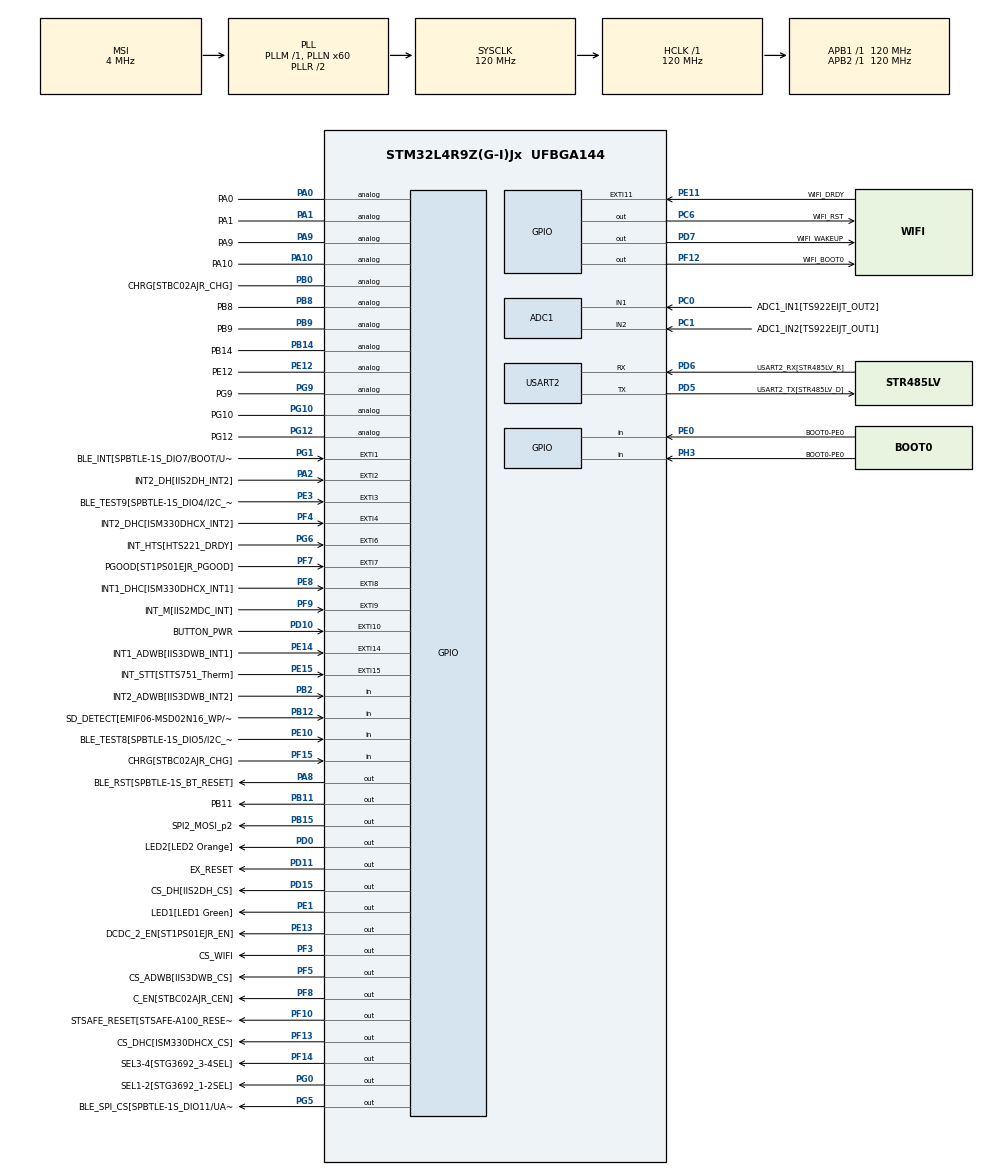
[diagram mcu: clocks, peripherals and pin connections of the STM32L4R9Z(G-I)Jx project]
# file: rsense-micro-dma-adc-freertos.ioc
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ADC1.Channel-0\#ChannelRegularConversion=ADC_CHANNEL_1
ADC1.ContinuousConvMode=ENABLE
ADC1.DMAContinuousRequests=ENABLE
ADC1.NbrOfConversionFlag=1
ADC1.OffsetNumber-0\#ChannelRegularConversion=ADC_OFFSET_NONE
ADC1.Rank-0\#ChannelRegularConversion=1
ADC1.SamplingTime-0\#ChannelRegularConversion=ADC_SAMPLETIME_2CYCLES_5
ADC1.SingleDiff-0\#ChannelRegularConversion=ADC_DIFFERENTIAL_ENDED
ADC1.master=1
Dma.ADC1.0.Direction=DMA_PERIPH_TO_MEMORY
Dma.ADC1.0.EventEnable=DISABLE
Dma.ADC1.0.Instance=DMA1_Channel1
Dma.ADC1.0.MemDataAlignment=DMA_MDATAALIGN_HALFWORD
Dma.ADC1.0.MemInc=DMA_MINC_ENABLE
Dma.ADC1.0.Mode=DMA_CIRCULAR
Dma.ADC1.0.PeriphDataAlignment=DMA_PDATAALIGN_HALFWORD
Dma.ADC1.0.PeriphInc=DMA_PINC_DISABLE
Dma.ADC1.0.Polarity=HAL_DMAMUX_REQUEST_GEN_RISING
Dma.ADC1.0.Priority=DMA_PRIORITY_LOW
Dma.ADC1.0.RequestNumber=1
Dma.ADC1.0.SignalID=NONE
Dma.ADC1.0.SyncEnable=DISABLE
Dma.ADC1.0.SyncPolarity=HAL_DMAMUX_SYNC_NO_EVENT
Dma.ADC1.0.SyncRequestNumber=1
Dma.ADC1.0.SyncSignalID=NONE
Dma.Request0=ADC1
FREERTOS.Tasks01=defaultTask,0,128,StartDefaultTask,Default,NULL,Dynamic,NULL,NULL
Mcu.Family=STM32L4
Mcu.Name=STM32L4R9Z(G-I)Jx
Mcu.Package=UFBGA144
NVIC.DMA1_Channel1_IRQn=true\:5\:0\:false\:false\:true\:true\:false\:true
NVIC.PriorityGroup=NVIC_PRIORITYGROUP_4
NVIC.TIM6_DAC_IRQn=true\:0\:0\:false\:false\:true\:false\:false\:true
NVIC.TimeBase=TIM6_DAC_IRQn
NVIC.TimeBaseIP=TIM6
NVIC.USART2_IRQn=true\:5\:0\:false\:false\:true\:true\:true\:true
PA0.GPIO_Label=PA0
PA0.Signal=GPIO_Analog
PA1.GPIO_Label=PA1
PA1.Signal=GPIO_Analog
PA10.GPIO_Label=PA10
PA10.Signal=GPIO_Analog
PA11.GPIO_Label=OTG_FS_DM[USBLC6-2P6_D2]
PA11.Signal=USB_OTG_FS_DM
PA12.GPIO_Label=OTG_FS_DP[USBLC6-2P6_D1]
PA12.Signal=USB_OTG_FS_DP
PA13\ (JTMS/SWDIO).GPIO_Label=SWDIO
PA13\ (JTMS/SWDIO).Signal=SYS_JTMS-SWDIO
PA14\ (JTCK/SWCLK).GPIO_Label=SWDCLK
PA14\ (JTCK/SWCLK).Signal=SYS_JTCK-SWCLK
PA15\ (JTDI).GPIO_Label=EX_PWM
PA15\ (JTDI).Signal=S_TIM2_CH1
PA2.GPIO_Label=INT2_DH[IIS2DH_INT2]
PA2.Signal=GPXTI2
PA4.GPIO_Label=DAC1_OUT1
PA4.Signal=COMP_DAC11_group
PA5.GPIO_Label=EX_ADC
PA5.Signal=ADCx_IN10
PA8.GPIO_Label=BLE_RST[SPBTLE-1S_BT_RESET]
PA8.Signal=GPIO_Output
PA9.GPIO_Label=PA9
PA9.Signal=GPIO_Analog
PB0.GPIO_Label=CHRG[STBC02AJR_CHG]
PB0.Signal=GPIO_Analog
PB1.GPIO_Label=USART3_RTS[STG3692_3S2]
PB1.Signal=USART3_RTS
PB10.GPIO_Label=DFSDM1_D7
PB10.GPIO_PuPd=GPIO_PULLDOWN
PB10.GPIO_Speed=GPIO_SPEED_FREQ_VERY_HIGH
PB10.Signal=S_DATAIN7DFSDM1
PB11.GPIO_Label=PB11
PB11.Signal=GPIO_Output
PB12.GPIO_Label=SD_DETECT[EMIF06-MSD02N16_WP/CD]
PB12.Signal=GPIO_Input
PB13.GPIO_Label=USART3_CTS
PB13.Signal=USART3_CTS
PB14.GPIO_Label=PB14
PB14.Signal=GPIO_Analog
PB15.GPIO_Label=SPI2_MOSI_p2
PB15.Signal=GPIO_Output
PB2.GPIO_Label=INT2_ADWB[IIS3DWB_INT2]
PB2.Signal=GPIO_Input
PB3\ (JTDO/TRACESWO).GPIO_Label=SPI3_CLK[SENSORS_SCL]
PB3\ (JTDO/TRACESWO).Signal=SPI3_SCK
PB4\ (NJTRST).GPIO_Label=SPI3_MISO[SENSORS_SDO]
PB4\ (NJTRST).Signal=SPI3_MISO
PB5.GPIO_Label=SPI3_MOSI[SENSORS_SDA]
PB5.Signal=SPI3_MOSI
PB6.GPIO_Label=DFSDM1_DATIN5[IMP34DT05_DOUT]
PB6.GPIO_PuPd=GPIO_PULLDOWN
PB6.GPIO_Speed=GPIO_SPEED_FREQ_VERY_HIGH
PB6.Signal=S_DATAIN5DFSDM1
PB8.GPIO_Label=PB8
PB8.Signal=GPIO_Analog
PB9.GPIO_Label=PB9
PB9.Signal=GPIO_Analog
PC0.GPIO_Label=ADC1_IN1[TS922EIJT_OUT2]
PC0.Signal=ADCx_IN1
PC1.GPIO_Label=ADC1_IN2[TS922EIJT_OUT1]
PC1.Signal=ADCx_IN2
PC10.GPIO_Label=SDMMC_D2[EMIF06-MSD02N16_DAT2_In]
PC10.Signal=SDMMC1_D2
PC11.GPIO_Label=SDMMC_D3[EMIF06-MSD02N16_DAT3_In]
PC11.Signal=SDMMC1_D3
PC12.GPIO_Label=SDMMC_CK[EMIF06-MSD02N16_CLK_In]
PC12.Signal=SDMMC1_CK
PC13.GPIO_Label=RTC_TAMP1
PC13.Signal=RTC_TAMP1
PC14-OSC32_IN\ (PC14).GPIO_Label=OSC32_IN
PC14-OSC32_IN\ (PC14).Signal=RCC_OSC32_IN
PC15-OSC32_OUT\ (PC15).GPIO_Label=OSC32_OUT
PC15-OSC32_OUT\ (PC15).Signal=RCC_OSC32_OUT
PC2.GPIO_Label=SPI2_MISO[SPBTLE-1S_DIO2/SPI_MISO]
PC2.Signal=SPI2_MISO
PC3.GPIO_Label=SPI2_MOSI[SPBTLE-1S_DIO3/SPI_MOSI]
PC3.Signal=SPI2_MOSI
PC4.GPIO_Label=uC_ADC_BATT[STBC02AJR_BATMS]
PC4.Signal=ADCx_IN13
PC5.GPIO_Label=PC5/WKUP5
PC5.Signal=SYS_WKUP5
PC6.GPIO_Label=WIFI_RST
PC6.Signal=GPIO_Output
PC8.GPIO_Label=SDMMC_D0[EMIF06-MSD02N16_DAT0_In]
PC8.Signal=SDMMC1_D0
PC9.GPIO_Label=SDMMC_D1[EMIF06-MSD02N16_DAT1_In]
PC9.Signal=SDMMC1_D1
PD0.GPIO_Label=LED2[LED2 Orange]
PD0.Signal=GPIO_Output
PD1.GPIO_Label=SPI2_CLK[SPBTLE-1S_DIO0/SPI_CLK]
PD1.Signal=SPI2_SCK
PD10.GPIO_Label=BUTTON_PWR
PD10.Signal=GPXTI10
PD11.GPIO_Label=EX_RESET 
PD11.Signal=GPIO_Output
PD12.GPIO_Label=I2C4_SCL
PD12.Signal=I2C4_SCL
PD13.GPIO_Label=I2C4_SDA
PD13.Signal=I2C4_SDA
PD15.GPIO_Label=CS_DH[IIS2DH_CS]
PD15.Signal=GPIO_Output
PD2.GPIO_Label=SDMMC_CMD[EMIF06-MSD02N16_CMD_In]
PD2.Signal=SDMMC1_CMD
PD4.GPIO_Label=USART2_RTS[STR485LV_DE]
PD4.Signal=USART2_RTS
PD5.GPIO_Label=USART2_TX[STR485LV_D]
PD5.Mode=Asynchronous
PD5.Signal=USART2_TX
PD6.GPIO_Label=USART2_RX[STR485LV_R]
PD6.Mode=Asynchronous
PD6.Signal=USART2_RX
PD7.GPIO_Label=WIFI_WAKEUP
PD7.Signal=GPIO_Output
PD8.GPIO_Label=USART3_TX[STG3692_1S1]
PD8.Signal=USART3_TX
PD9.GPIO_Label=USART3_RX[STG3692_2S1]
PD9.Signal=USART3_RX
PE0.GPIO_Label=BOOT0-PE0
PE0.Signal=GPIO_Input
PE1.GPIO_Label=LED1[LED1 Green]
PE1.Signal=GPIO_Output
PE10.GPIO_Label=BLE_TEST8[SPBTLE-1S_DIO5/I2C_SDA]
PE10.Signal=GPIO_Input
PE11.GPIO_Label=WIFI_DRDY
PE11.Signal=GPXTI11
PE12.GPIO_Label=PE12
PE12.Signal=GPIO_Analog
PE13.GPIO_Label=DCDC_2_EN[ST1PS01EJR_EN]
PE13.Signal=GPIO_Output
PE14.GPIO_Label=INT1_ADWB[IIS3DWB_INT1]
PE14.Signal=GPXTI14
PE15.GPIO_Label=INT_STT[STTS751_Therm]
PE15.Signal=GPXTI15
PE2.GPIO_Label=SAI1_MCLK_A
PE2.Signal=SAI1_MCLK_A
PE3.GPIO_Label=BLE_TEST9[SPBTLE-1S_DIO4/I2C_CLK]
PE3.Signal=GPXTI3
PE4.GPIO_Label=SAI1_FS_A/DFSDM_D3
PE4.Signal=SAI1_FS_A
PE5.GPIO_Label=SAI1_SCK_A
PE5.Signal=SAI1_SCK_A
PE6.GPIO_Label=SAI1_SD_A
PE6.Signal=SAI1_SD_A
PE7.GPIO_Label=SAI1_SD_B
PE7.Signal=SAI1_SD_B
PE8.GPIO_Label=INT1_DHC[ISM330DHCX_INT1]
PE8.Signal=GPXTI8
PE9.GPIO_Label=DFSDM1_CKOUT[IMP34DT05_CLK]
PE9.GPIO_PuPd=GPIO_PULLDOWN
PE9.GPIO_Speed=GPIO_SPEED_FREQ_VERY_HIGH
PE9.Signal=S_CKOUTDFSDM1
PF0.GPIO_Label=I2C2_SDA[SENSORS_SDA]
PF0.Signal=I2C2_SDA
PF1.GPIO_Label=I2C2_SDA[SENSORS_SCL]
PF1.Signal=I2C2_SCL
PF10.GPIO_Label=STSAFE_RESET[STSAFE-A100_RESET]
PF10.Signal=GPIO_Output
PF12.GPIO_Label=WIFI_BOOT0
PF12.Signal=GPIO_Output
PF13.GPIO_Label=CS_DHC[ISM330DHCX_CS]
PF13.Signal=GPIO_Output
PF14.GPIO_Label=SEL3-4[STG3692_3-4SEL]
PF14.Signal=GPIO_Output
PF15.GPIO_Label=CHRG[STBC02AJR_CHG]
PF15.Signal=GPIO_Input
PF2.GPIO_Label=I2C2_SMBA[STTS751_EV]
PF2.Signal=I2C2_SMBA
PF3.GPIO_Label=CS_WIFI
PF3.Signal=GPIO_Output
PF4.GPIO_Label=INT2_DHC[ISM330DHCX_INT2]
PF4.Signal=GPXTI4
PF5.GPIO_Label=CS_ADWB[IIS3DWB_CS]
PF5.Signal=GPIO_Output
PF6.GPIO_Label=SW_SEL[STBC02AJR_SW_SEL]
PF6.GPIO_Speed=GPIO_SPEED_FREQ_HIGH
PF6.Signal=S_TIM5_CH1
PF7.GPIO_Label=PGOOD[ST1PS01EJR_PGOOD]
PF7.Signal=GPXTI7
PF8.GPIO_Label=C_EN[STBC02AJR_CEN]
PF8.Signal=GPIO_Output
PF9.GPIO_Label=INT_M[IIS2MDC_INT]
PF9.Signal=GPXTI9
PG0.GPIO_Label=SEL1-2[STG3692_1-2SEL]
PG0.Signal=GPIO_Output
PG1.GPIO_Label=BLE_INT[SPBTLE-1S_DIO7/BOOT/UART_CTS]
PG1.Signal=GPXTI1
PG10.GPIO_Label=PG10
PG10.Signal=GPIO_Analog
PG12.GPIO_Label=PG12
PG12.Signal=GPIO_Analog
PG2.GPIO_Label=SPI1_CLK
PG2.Signal=SPI1_SCK
PG3.GPIO_Label=SPI1_MISO
PG3.Signal=SPI1_MISO
PG4.GPIO_Label=SPI1_MOSI
PG4.Signal=SPI1_MOSI
PG5.GPIO_Label=BLE_SPI_CS[SPBTLE-1S_DIO11/UART_RXD]
PG5.Signal=GPIO_Output
PG6.GPIO_Label=INT_HTS[HTS221_DRDY]
PG6.Signal=GPXTI6
PG7.GPIO_Label=I2C3_SCL
PG7.Signal=I2C3_SCL
PG8.GPIO_Label=I2C3_SDA
PG8.Signal=I2C3_SDA
PG9.GPIO_Label=PG9
PG9.Signal=GPIO_Analog
PH0-OSC_IN\ (PH0).GPIO_Label=OSC_IN
PH0-OSC_IN\ (PH0).Signal=RCC_OSC_IN
PH1-OSC_OUT\ (PH1).GPIO_Label=OSC_OUT
PH1-OSC_OUT\ (PH1).Signal=RCC_OSC_OUT
PH3-BOOT0.GPIO_Label=BOOT0-PE0
PH3-BOOT0.Signal=GPIO_Input
ProjectManager.HeapSize=0x200
ProjectManager.StackSize=0x400
ProjectManager.TargetToolchain=STM32CubeIDE
RCC.ADCFreq_Value=16000000
RCC.AHBFreq_Value=120000000
RCC.APB1Freq_Value=120000000
RCC.APB1TimFreq_Value=120000000
RCC.APB2Freq_Value=120000000
RCC.APB2TimFreq_Value=120000000
RCC.CK48CLockSelection=RCC_USBCLKSOURCE_HSI48
RCC.CortexFreq_Value=120000000
RCC.DSITX_Div=1
RCC.HCLKFreq_Value=120000000
RCC.HSE_VALUE=16000000
RCC.HSI48_VALUE=48000000
RCC.HSI_VALUE=16000000
RCC.LSE_VALUE=32768
RCC.MSI_VALUE=4000000
RCC.PLLDSIODF=DSI_PLL_OUT_DIV2
RCC.PLLM3=2
RCC.PLLN=60
RCC.PLLSAI1N=16
RCC.PLLSAI1P=RCC_PLLP_DIV25
RCC.PLLSAI1Q=RCC_PLLQ_DIV4
RCC.PLLSAI1R=RCC_PLLR_DIV4
RCC.RTCClockSelection=RCC_RTCCLKSOURCE_LSE
RCC.SDMMCClockSelection=RCC_SDIOCLKSOURCE_CLK48
RCC.SYSCLKFreq_VALUE=120000000
RCC.SYSCLKSource=RCC_SYSCLKSOURCE_PLLCLK
RCC.USBFreq_Value=48000000
RCC.VCOOutputFreq_Value=240000000
SH.ADCx_IN1.0=ADC1_IN1,IN1-Differential
SH.ADCx_IN10.0=ADC1_IN10
SH.ADCx_IN13.0=ADC1_IN13
SH.ADCx_IN2.0=ADC1_IN2,IN1-Differential
SH.COMP_DAC11_group.0=DAC1_OUT1
SH.S_CKOUTDFSDM1.0=DFSDM1_CKOUT
SH.S_DATAIN5DFSDM1.0=DFSDM1_DATIN5
SH.S_DATAIN7DFSDM1.0=DFSDM1_DATIN7
SH.S_TIM2_CH1.0=TIM2_CH1
SH.S_TIM5_CH1.0=TIM5_CH1
USART2.VirtualMode-Asynchronous=VM_ASYNC
VP_FREERTOS_VS_CMSIS_V1.Mode=CMSIS_V1
VP_SYS_VS_tim6.Mode=TIM6
board=STEVAL-STWINKT1

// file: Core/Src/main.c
/* USER CODE BEGIN Header */
/**
  ******************************************************************************
  * @file           : main.c
  * @brief          : Main program body
  ******************************************************************************
  * @attention
  *
  * <h2><center>&copy; Copyright (c) 2021 STMicroelectronics.
  * All rights reserved.</center></h2>
  *
  * This software component is licensed by ST under BSD 3-Clause license,
  * the "License"; You may not use this file except in compliance with the
  * License. You may obtain a copy of the License at:
  *                        opensource.org/licenses/BSD-3-Clause
  *
  ******************************************************************************
  */
/* USER CODE END Header */
#include "main.h"
#include "cmsis_os.h"

/* USER CODE BEGIN Includes */
#include "string.h"
#include "stdio.h"

#define ARM_MATH_CM4
#include "arm_math.h"
#include <stdlib.h>
#include <audio_fft.h>
#include <math.h>
#include <task.h>
/* USER CODE END Includes */

/* USER CODE BEGIN PTD */
typedef enum
{
  SM_SENSOR_STATE_RUNNING,
  SM_SENSOR_STATE_SUSPENDING,
  SM_SENSOR_STATE_SUSPENDED,
  SM_SENSOR_STATE_INITIALIZING,
}SM_Sensor_State_t;
/* USER CODE END PTD */

ADC_HandleTypeDef hadc1;
DMA_HandleTypeDef hdma_adc1;

UART_HandleTypeDef huart2;

osThreadId defaultTaskHandle;
/* USER CODE BEGIN PV */
#define AUDIO_IN_SAMPLING_FREQUENCY 66667
#define ADC_BUF_LEN 512
uint16_t adc_buf[ADC_BUF_LEN];
/* USER CODE END PV */

void SystemClock_Config(void);
static void MX_GPIO_Init(void);
static void MX_DMA_Init(void);
static void MX_ADC1_Init(void);
static void MX_USART2_UART_Init(void);
void MP23ABS1_Data_Ready(uint8_t * buf, uint16_t size);
void Cambio_Escala_FFT(float *FFT, uint16_t size, double *salida);

/* USER CODE BEGIN PFP */
AUDIO_FFT_instance_t audio_fft_M1;
float * FFT_Out;
uint8_t Mitad1 = 0;
uint8_t Mitad2 = 0;
SM_Sensor_State_t estado;

osPoolId amicPool_id;
osPoolDef(amicPool, 1, uint32_t);
static osSemaphoreId fft_data_input_sem_id;
static osSemaphoreDef(fft_data_input_sem);
double FFT_log[256];
/* USER CODE END PFP */

/* USER CODE BEGIN 0 */
/***************************** TASK HANDLERS *********************************/

xTaskHandle Sender_HPT_Handler;
xTaskHandle Receiver_Handler;

/***************************** QUEUE HANDLERS ********************************/

xQueueHandle SimpleQueue;

/***************************** TASK FUNCTIONS ********************************/

void Sender_HPT_Task(void *argument);
void Receiver_Task(void *argument);

uint8_t Rx_data;

/* USER CODE END 0 */

int main(void)
{

  /* MCU Configuration--------------------------------------------------------*/

  /* Reset of all peripherals, Initializes the Flash interface and the Systick. */
  HAL_Init();

  /* Configure the system clock */
  SystemClock_Config();

  /* Initialize all configured peripherals */
  MX_GPIO_Init();
  MX_DMA_Init();
  MX_ADC1_Init();
  MX_USART2_UART_Init();
  estado = SM_SENSOR_STATE_INITIALIZING;
  /* USER CODE BEGIN 2 */
  //HAL_ADC_Start_DMA(&hadc1, (uint32_t*)adc_buf, ADC_BUF_LEN);

    /********************************* QUEUE RELATED *************************************/
    SimpleQueue = xQueueCreate(2, sizeof(FFT_Out));
    if (SimpleQueue == 0) //Queue not created
    {
  	  char *str ="Unable to create FFT_Out Queue\n\n";
  	  HAL_UART_Transmit(&huart2, (uint8_t *)str, strlen(str), HAL_MAX_DELAY);
    }
    else
    {
  	  char *str ="FFT_Out Queue created successfully\n\n";
  	  	  HAL_UART_Transmit(&huart2, (uint8_t *)str, strlen(str), HAL_MAX_DELAY);
    }

    /******************************* SEMAPHORE RELATED ***********************************/
    /* Data read complete semaphore initialization */
      fft_data_input_sem_id = osSemaphoreCreate(osSemaphore(fft_data_input_sem), 1);
      osSemaphoreWait(fft_data_input_sem_id,osWaitForever);

    /********************************* TASK RELATED *************************************/
      xTaskCreate(Receiver_Task, "Receive", 256, NULL, 3, &Receiver_Handler);
      xTaskCreate(Sender_HPT_Task, "HPT_SEND", 256, NULL, 2, &Sender_HPT_Handler);
      //  xTaskCreate(Sender_LPT_Task, "LPT_SEND", 128, (void *)111, 2, &Sender_LPT_Handler);

    amicPool_id = osPoolCreate(osPool(amicPool));

    vTaskStartScheduler();
  /* USER CODE END 2 */

  /* We should never get here as control is now taken by the scheduler */
  /* Infinite loop */
  while (1)
  {

  }
}

void SystemClock_Config(void)
{
  RCC_OscInitTypeDef RCC_OscInitStruct = {0};
  RCC_ClkInitTypeDef RCC_ClkInitStruct = {0};
  RCC_PeriphCLKInitTypeDef PeriphClkInit = {0};

  /** Configure the main internal regulator output voltage
  */
  if (HAL_PWREx_ControlVoltageScaling(PWR_REGULATOR_VOLTAGE_SCALE1_BOOST) != HAL_OK)
  {
    Error_Handler();
  }
  /** Initializes the RCC Oscillators according to the specified parameters
  * in the RCC_OscInitTypeDef structure.
  */
  RCC_OscInitStruct.OscillatorType = RCC_OSCILLATORTYPE_MSI;
  RCC_OscInitStruct.MSIState = RCC_MSI_ON;
  RCC_OscInitStruct.MSICalibrationValue = 0;
  RCC_OscInitStruct.MSIClockRange = RCC_MSIRANGE_6;
  RCC_OscInitStruct.PLL.PLLState = RCC_PLL_ON;
  RCC_OscInitStruct.PLL.PLLSource = RCC_PLLSOURCE_MSI;
  RCC_OscInitStruct.PLL.PLLM = 1;
  RCC_OscInitStruct.PLL.PLLN = 60;
  RCC_OscInitStruct.PLL.PLLP = RCC_PLLP_DIV2;
  RCC_OscInitStruct.PLL.PLLQ = RCC_PLLQ_DIV2;
  RCC_OscInitStruct.PLL.PLLR = RCC_PLLR_DIV2;
  if (HAL_RCC_OscConfig(&RCC_OscInitStruct) != HAL_OK)
  {
    Error_Handler();
  }
  /** Initializes the CPU, AHB and APB buses clocks
  */
  RCC_ClkInitStruct.ClockType = RCC_CLOCKTYPE_HCLK|RCC_CLOCKTYPE_SYSCLK
                              |RCC_CLOCKTYPE_PCLK1|RCC_CLOCKTYPE_PCLK2;
  RCC_ClkInitStruct.SYSCLKSource = RCC_SYSCLKSOURCE_PLLCLK;
  RCC_ClkInitStruct.AHBCLKDivider = RCC_SYSCLK_DIV1;
  RCC_ClkInitStruct.APB1CLKDivider = RCC_HCLK_DIV1;
  RCC_ClkInitStruct.APB2CLKDivider = RCC_HCLK_DIV1;

  if (HAL_RCC_ClockConfig(&RCC_ClkInitStruct, FLASH_LATENCY_5) != HAL_OK)
  {
    Error_Handler();
  }
  PeriphClkInit.PeriphClockSelection = RCC_PERIPHCLK_USART2|RCC_PERIPHCLK_ADC;
  PeriphClkInit.Usart2ClockSelection = RCC_USART2CLKSOURCE_PCLK1;
  PeriphClkInit.AdcClockSelection = RCC_ADCCLKSOURCE_PLLSAI1;
  PeriphClkInit.PLLSAI1.PLLSAI1Source = RCC_PLLSOURCE_MSI;
  PeriphClkInit.PLLSAI1.PLLSAI1M = 1;
  PeriphClkInit.PLLSAI1.PLLSAI1N = 16;
  PeriphClkInit.PLLSAI1.PLLSAI1P = RCC_PLLP_DIV25;
  PeriphClkInit.PLLSAI1.PLLSAI1Q = RCC_PLLQ_DIV4;
  PeriphClkInit.PLLSAI1.PLLSAI1R = RCC_PLLR_DIV4;
  PeriphClkInit.PLLSAI1.PLLSAI1ClockOut = RCC_PLLSAI1_ADC1CLK;
  if (HAL_RCCEx_PeriphCLKConfig(&PeriphClkInit) != HAL_OK)
  {
    Error_Handler();
  }
}

static void MX_ADC1_Init(void)
{

  ADC_ChannelConfTypeDef sConfig = {0};

  /** Common config
  */
  hadc1.Instance = ADC1;
  hadc1.Init.ClockPrescaler = ADC_CLOCK_ASYNC_DIV1;
  hadc1.Init.Resolution = ADC_RESOLUTION_12B;
  hadc1.Init.DataAlign = ADC_DATAALIGN_RIGHT;
  hadc1.Init.ScanConvMode = ADC_SCAN_DISABLE;
  hadc1.Init.EOCSelection = ADC_EOC_SINGLE_CONV;
  hadc1.Init.LowPowerAutoWait = DISABLE;
  hadc1.Init.ContinuousConvMode = ENABLE;
  hadc1.Init.NbrOfConversion = 1;
  hadc1.Init.DiscontinuousConvMode = DISABLE;
  hadc1.Init.ExternalTrigConv = ADC_SOFTWARE_START;
  hadc1.Init.ExternalTrigConvEdge = ADC_EXTERNALTRIGCONVEDGE_NONE;
  hadc1.Init.DMAContinuousRequests = ENABLE;
  hadc1.Init.Overrun = ADC_OVR_DATA_PRESERVED;
  hadc1.Init.OversamplingMode = DISABLE;
  if (HAL_ADC_Init(&hadc1) != HAL_OK)
  {
    Error_Handler();
  }
  /** Configure Regular Channel
  */
  sConfig.Channel = ADC_CHANNEL_1;
  sConfig.Rank = ADC_REGULAR_RANK_1;
  sConfig.SamplingTime = ADC_SAMPLETIME_2CYCLES_5;
  sConfig.SingleDiff = ADC_DIFFERENTIAL_ENDED;
  sConfig.OffsetNumber = ADC_OFFSET_NONE;
  sConfig.Offset = 0;
  if (HAL_ADC_ConfigChannel(&hadc1, &sConfig) != HAL_OK)
  {
    Error_Handler();
  }

}

static void MX_USART2_UART_Init(void)
{

  huart2.Instance = USART2;
  huart2.Init.BaudRate = 115200;
  huart2.Init.WordLength = UART_WORDLENGTH_8B;
  huart2.Init.StopBits = UART_STOPBITS_1;
  huart2.Init.Parity = UART_PARITY_NONE;
  huart2.Init.Mode = UART_MODE_TX_RX;
  huart2.Init.HwFlowCtl = UART_HWCONTROL_NONE;
  huart2.Init.OverSampling = UART_OVERSAMPLING_16;
  huart2.Init.OneBitSampling = UART_ONE_BIT_SAMPLE_DISABLE;
  huart2.Init.ClockPrescaler = UART_PRESCALER_DIV1;
  huart2.AdvancedInit.AdvFeatureInit = UART_ADVFEATURE_NO_INIT;
  if (HAL_UART_Init(&huart2) != HAL_OK)
  {
    Error_Handler();
  }
  if (HAL_UARTEx_SetTxFifoThreshold(&huart2, UART_TXFIFO_THRESHOLD_1_8) != HAL_OK)
  {
    Error_Handler();
  }
  if (HAL_UARTEx_SetRxFifoThreshold(&huart2, UART_RXFIFO_THRESHOLD_1_8) != HAL_OK)
  {
    Error_Handler();
  }
  if (HAL_UARTEx_DisableFifoMode(&huart2) != HAL_OK)
  {
    Error_Handler();
  }

}

static void MX_DMA_Init(void)
{

  /* DMA controller clock enable */
  __HAL_RCC_DMAMUX1_CLK_ENABLE();
  __HAL_RCC_DMA1_CLK_ENABLE();

  /* DMA interrupt init */
  /* DMA1_Channel1_IRQn interrupt configuration */
  HAL_NVIC_SetPriority(DMA1_Channel1_IRQn, 5, 0);
  HAL_NVIC_EnableIRQ(DMA1_Channel1_IRQn);

}

static void MX_GPIO_Init(void)
{
  GPIO_InitTypeDef GPIO_InitStruct = {0};

  /* GPIO Ports Clock Enable */
  __HAL_RCC_GPIOE_CLK_ENABLE();
  __HAL_RCC_GPIOB_CLK_ENABLE();
  __HAL_RCC_GPIOH_CLK_ENABLE();
  __HAL_RCC_GPIOC_CLK_ENABLE();
  __HAL_RCC_GPIOA_CLK_ENABLE();
  __HAL_RCC_GPIOD_CLK_ENABLE();
  __HAL_RCC_GPIOG_CLK_ENABLE();
  HAL_PWREx_EnableVddIO2();
  __HAL_RCC_GPIOF_CLK_ENABLE();

  /*Configure GPIO pin Output Level */
  HAL_GPIO_WritePin(GPIOE, LED1_Pin|DCDC_2_EN_Pin, GPIO_PIN_RESET);

  /*Configure GPIO pin Output Level */
  HAL_GPIO_WritePin(GPIOD, LED2_Pin|WIFI_WAKEUP_Pin|CS_DH_Pin|EX_RESET_Pin, GPIO_PIN_RESET);

  /*Configure GPIO pin Output Level */
  HAL_GPIO_WritePin(BLE_RST_GPIO_Port, BLE_RST_Pin, GPIO_PIN_RESET);

  /*Configure GPIO pin Output Level */
  HAL_GPIO_WritePin(WIFI_RST_GPIO_Port, WIFI_RST_Pin, GPIO_PIN_RESET);

  /*Configure GPIO pin Output Level */
  HAL_GPIO_WritePin(GPIOF, CS_WIFI_Pin|C_EN_Pin|CS_ADWB_Pin|STSAFE_RESET_Pin
                          |WIFI_BOOT0_Pin|CS_DHC_Pin|SEL3_4_Pin, GPIO_PIN_RESET);

  /*Configure GPIO pin Output Level */
  HAL_GPIO_WritePin(GPIOG, BLE_SPI_CS_Pin|SEL1_2_Pin, GPIO_PIN_RESET);

  /*Configure GPIO pin Output Level */
  HAL_GPIO_WritePin(GPIOB, SPI2_MOSI_p2_Pin|PB11_Pin, GPIO_PIN_RESET);

  /*Configure GPIO pins : BOOT0_PE0_Pin BLE_TEST8_Pin */
  GPIO_InitStruct.Pin = BOOT0_PE0_Pin|BLE_TEST8_Pin;
  GPIO_InitStruct.Mode = GPIO_MODE_INPUT;
  GPIO_InitStruct.Pull = GPIO_NOPULL;
  HAL_GPIO_Init(GPIOE, &GPIO_InitStruct);

  /*Configure GPIO pins : PB9_Pin PB8_Pin PB14_Pin CHRGB0_Pin */
  GPIO_InitStruct.Pin = PB9_Pin|PB8_Pin|PB14_Pin|CHRGB0_Pin;
  GPIO_InitStruct.Mode = GPIO_MODE_ANALOG;
  GPIO_InitStruct.Pull = GPIO_NOPULL;
  HAL_GPIO_Init(GPIOB, &GPIO_InitStruct);

  /*Configure GPIO pin : BOOT0_PE0H3_Pin */
  GPIO_InitStruct.Pin = BOOT0_PE0H3_Pin;
  GPIO_InitStruct.Mode = GPIO_MODE_INPUT;
  GPIO_InitStruct.Pull = GPIO_NOPULL;
  HAL_GPIO_Init(BOOT0_PE0H3_GPIO_Port, &GPIO_InitStruct);

  /*Configure GPIO pins : SPI3_MISO_Pin SPI3_MOSI_Pin SPI3_CLK_Pin */
  GPIO_InitStruct.Pin = SPI3_MISO_Pin|SPI3_MOSI_Pin|SPI3_CLK_Pin;
  GPIO_InitStruct.Mode = GPIO_MODE_AF_PP;
  GPIO_InitStruct.Pull = GPIO_NOPULL;
  GPIO_InitStruct.Speed = GPIO_SPEED_FREQ_VERY_HIGH;
  GPIO_InitStruct.Alternate = GPIO_AF6_SPI3;
  HAL_GPIO_Init(GPIOB, &GPIO_InitStruct);

  /*Configure GPIO pins : SDMMC_D3_Pin SDMMC_D2_Pin SDMMC_D1_Pin SDMMC_CK_Pin
                           SDMMC_D0_Pin */
  GPIO_InitStruct.Pin = SDMMC_D3_Pin|SDMMC_D2_Pin|SDMMC_D1_Pin|SDMMC_CK_Pin
                          |SDMMC_D0_Pin;
  GPIO_InitStruct.Mode = GPIO_MODE_AF_PP;
  GPIO_InitStruct.Pull = GPIO_NOPULL;
  GPIO_InitStruct.Speed = GPIO_SPEED_FREQ_VERY_HIGH;
  GPIO_InitStruct.Alternate = GPIO_AF12_SDMMC1;
  HAL_GPIO_Init(GPIOC, &GPIO_InitStruct);

  /*Configure GPIO pins : BLE_TEST9_Pin WIFI_DRDY_Pin INT1_DHC_Pin INT_STT_Pin
                           INT1_ADWB_Pin */
  GPIO_InitStruct.Pin = BLE_TEST9_Pin|WIFI_DRDY_Pin|INT1_DHC_Pin|INT_STT_Pin
                          |INT1_ADWB_Pin;
  GPIO_InitStruct.Mode = GPIO_MODE_IT_RISING;
  GPIO_InitStruct.Pull = GPIO_NOPULL;
  HAL_GPIO_Init(GPIOE, &GPIO_InitStruct);

  /*Configure GPIO pin : SPI2_CLK_Pin */
  GPIO_InitStruct.Pin = SPI2_CLK_Pin;
  GPIO_InitStruct.Mode = GPIO_MODE_AF_PP;
  GPIO_InitStruct.Pull = GPIO_NOPULL;
  GPIO_InitStruct.Speed = GPIO_SPEED_FREQ_VERY_HIGH;
  GPIO_InitStruct.Alternate = GPIO_AF5_SPI2;
  HAL_GPIO_Init(SPI2_CLK_GPIO_Port, &GPIO_InitStruct);

  /*Configure GPIO pin : EX_PWM_Pin */
  GPIO_InitStruct.Pin = EX_PWM_Pin;
  GPIO_InitStruct.Mode = GPIO_MODE_AF_PP;
  GPIO_InitStruct.Pull = GPIO_NOPULL;
  GPIO_InitStruct.Speed = GPIO_SPEED_FREQ_LOW;
  GPIO_InitStruct.Alternate = GPIO_AF1_TIM2;
  HAL_GPIO_Init(EX_PWM_GPIO_Port, &GPIO_InitStruct);

  /*Configure GPIO pins : OTG_FS_DP_Pin OTG_FS_DM_Pin */
  GPIO_InitStruct.Pin = OTG_FS_DP_Pin|OTG_FS_DM_Pin;
  GPIO_InitStruct.Mode = GPIO_MODE_AF_PP;
  GPIO_InitStruct.Pull = GPIO_NOPULL;
  GPIO_InitStruct.Speed = GPIO_SPEED_FREQ_VERY_HIGH;
  GPIO_InitStruct.Alternate = GPIO_AF10_OTG_FS;
  HAL_GPIO_Init(GPIOA, &GPIO_InitStruct);

  /*Configure GPIO pins : SAI1_SCK_A_Pin SAI1_MCLK_A_Pin SAI1_FS_A_DFSDM_D3_Pin SAI1_SD_A_Pin
                           SAI1_SD_B_Pin */
  GPIO_InitStruct.Pin = SAI1_SCK_A_Pin|SAI1_MCLK_A_Pin|SAI1_FS_A_DFSDM_D3_Pin|SAI1_SD_A_Pin
                          |SAI1_SD_B_Pin;
  GPIO_InitStruct.Mode = GPIO_MODE_AF_PP;
  GPIO_InitStruct.Pull = GPIO_NOPULL;
  GPIO_InitStruct.Speed = GPIO_SPEED_FREQ_LOW;
  GPIO_InitStruct.Alternate = GPIO_AF13_SAI1;
  HAL_GPIO_Init(GPIOE, &GPIO_InitStruct);

  /*Configure GPIO pins : LED1_Pin DCDC_2_EN_Pin */
  GPIO_InitStruct.Pin = LED1_Pin|DCDC_2_EN_Pin;
  GPIO_InitStruct.Mode = GPIO_MODE_OUTPUT_PP;
  GPIO_InitStruct.Pull = GPIO_NOPULL;
  GPIO_InitStruct.Speed = GPIO_SPEED_FREQ_LOW;
  HAL_GPIO_Init(GPIOE, &GPIO_InitStruct);

  /*Configure GPIO pins : LED2_Pin WIFI_WAKEUP_Pin CS_DH_Pin EX_RESET_Pin */
  GPIO_InitStruct.Pin = LED2_Pin|WIFI_WAKEUP_Pin|CS_DH_Pin|EX_RESET_Pin;
  GPIO_InitStruct.Mode = GPIO_MODE_OUTPUT_PP;
  GPIO_InitStruct.Pull = GPIO_NOPULL;
  GPIO_InitStruct.Speed = GPIO_SPEED_FREQ_LOW;
  HAL_GPIO_Init(GPIOD, &GPIO_InitStruct);

  /*Configure GPIO pins : PA10_Pin PA9_Pin PA0_Pin DAC1_OUT1_Pin
                           PA1_Pin */
  GPIO_InitStruct.Pin = PA10_Pin|PA9_Pin|PA0_Pin|DAC1_OUT1_Pin
                          |PA1_Pin;
  GPIO_InitStruct.Mode = GPIO_MODE_ANALOG;
  GPIO_InitStruct.Pull = GPIO_NOPULL;
  HAL_GPIO_Init(GPIOA, &GPIO_InitStruct);

  /*Configure GPIO pins : DFSDM1_DATIN5_Pin DFSDM1_D7_Pin */
  GPIO_InitStruct.Pin = DFSDM1_DATIN5_Pin|DFSDM1_D7_Pin;
  GPIO_InitStruct.Mode = GPIO_MODE_AF_PP;
  GPIO_InitStruct.Pull = GPIO_PULLDOWN;
  GPIO_InitStruct.Speed = GPIO_SPEED_FREQ_VERY_HIGH;
  GPIO_InitStruct.Alternate = GPIO_AF6_DFSDM1;
  HAL_GPIO_Init(GPIOB, &GPIO_InitStruct);

  /*Configure GPIO pins : PG12_Pin PG10_Pin PG9_Pin */
  GPIO_InitStruct.Pin = PG12_Pin|PG10_Pin|PG9_Pin;
  GPIO_InitStruct.Mode = GPIO_MODE_ANALOG;
  GPIO_InitStruct.Pull = GPIO_NOPULL;
  HAL_GPIO_Init(GPIOG, &GPIO_InitStruct);

  /*Configure GPIO pin : SDMMC_CMD_Pin */
  GPIO_InitStruct.Pin = SDMMC_CMD_Pin;
  GPIO_InitStruct.Mode = GPIO_MODE_AF_PP;
  GPIO_InitStruct.Pull = GPIO_NOPULL;
  GPIO_InitStruct.Speed = GPIO_SPEED_FREQ_VERY_HIGH;
  GPIO_InitStruct.Alternate = GPIO_AF12_SDMMC1;
  HAL_GPIO_Init(SDMMC_CMD_GPIO_Port, &GPIO_InitStruct);

  /*Configure GPIO pin : BLE_RST_Pin */
  GPIO_InitStruct.Pin = BLE_RST_Pin;
  GPIO_InitStruct.Mode = GPIO_MODE_OUTPUT_PP;
  GPIO_InitStruct.Pull = GPIO_NOPULL;
  GPIO_InitStruct.Speed = GPIO_SPEED_FREQ_LOW;
  HAL_GPIO_Init(BLE_RST_GPIO_Port, &GPIO_InitStruct);

  /*Configure GPIO pin : WIFI_RST_Pin */
  GPIO_InitStruct.Pin = WIFI_RST_Pin;
  GPIO_InitStruct.Mode = GPIO_MODE_OUTPUT_PP;
  GPIO_InitStruct.Pull = GPIO_NOPULL;
  GPIO_InitStruct.Speed = GPIO_SPEED_FREQ_LOW;
  HAL_GPIO_Init(WIFI_RST_GPIO_Port, &GPIO_InitStruct);

  /*Configure GPIO pins : I2C2_SMBA_Pin I2C2_SDA_Pin I2C2_SDAF0_Pin */
  GPIO_InitStruct.Pin = I2C2_SMBA_Pin|I2C2_SDA_Pin|I2C2_SDAF0_Pin;
  GPIO_InitStruct.Mode = GPIO_MODE_AF_OD;
  GPIO_InitStruct.Pull = GPIO_PULLUP;
  GPIO_InitStruct.Speed = GPIO_SPEED_FREQ_VERY_HIGH;
  GPIO_InitStruct.Alternate = GPIO_AF4_I2C2;
  HAL_GPIO_Init(GPIOF, &GPIO_InitStruct);

  /*Configure GPIO pins : CS_WIFI_Pin C_EN_Pin CS_ADWB_Pin STSAFE_RESET_Pin
                           WIFI_BOOT0_Pin CS_DHC_Pin SEL3_4_Pin */
  GPIO_InitStruct.Pin = CS_WIFI_Pin|C_EN_Pin|CS_ADWB_Pin|STSAFE_RESET_Pin
                          |WIFI_BOOT0_Pin|CS_DHC_Pin|SEL3_4_Pin;
  GPIO_InitStruct.Mode = GPIO_MODE_OUTPUT_PP;
  GPIO_InitStruct.Pull = GPIO_NOPULL;
  GPIO_InitStruct.Speed = GPIO_SPEED_FREQ_LOW;
  HAL_GPIO_Init(GPIOF, &GPIO_InitStruct);

  /*Configure GPIO pins : I2C3_SDA_Pin I2C3_SCL_Pin */
  GPIO_InitStruct.Pin = I2C3_SDA_Pin|I2C3_SCL_Pin;
  GPIO_InitStruct.Mode = GPIO_MODE_AF_OD;
  GPIO_InitStruct.Pull = GPIO_PULLUP;
  GPIO_InitStruct.Speed = GPIO_SPEED_FREQ_VERY_HIGH;
  GPIO_InitStruct.Alternate = GPIO_AF4_I2C3;
  HAL_GPIO_Init(GPIOG, &GPIO_InitStruct);

  /*Configure GPIO pin : SW_SEL_Pin */
  GPIO_InitStruct.Pin = SW_SEL_Pin;
  GPIO_InitStruct.Mode = GPIO_MODE_AF_PP;
  GPIO_InitStruct.Pull = GPIO_NOPULL;
  GPIO_InitStruct.Speed = GPIO_SPEED_FREQ_HIGH;
  GPIO_InitStruct.Alternate = GPIO_AF2_TIM5;
  HAL_GPIO_Init(SW_SEL_GPIO_Port, &GPIO_InitStruct);

  /*Configure GPIO pins : INT2_DHC_Pin PGOOD_Pin INT_M_Pin */
  GPIO_InitStruct.Pin = INT2_DHC_Pin|PGOOD_Pin|INT_M_Pin;
  GPIO_InitStruct.Mode = GPIO_MODE_IT_RISING;
  GPIO_InitStruct.Pull = GPIO_NOPULL;
  HAL_GPIO_Init(GPIOF, &GPIO_InitStruct);

  /*Configure GPIO pins : SPI1_MISO_Pin SPI1_MOSI_Pin SPI1_CLK_Pin */
  GPIO_InitStruct.Pin = SPI1_MISO_Pin|SPI1_MOSI_Pin|SPI1_CLK_Pin;
  GPIO_InitStruct.Mode = GPIO_MODE_AF_PP;
  GPIO_InitStruct.Pull = GPIO_NOPULL;
  GPIO_InitStruct.Speed = GPIO_SPEED_FREQ_VERY_HIGH;
  GPIO_InitStruct.Alternate = GPIO_AF5_SPI1;
  HAL_GPIO_Init(GPIOG, &GPIO_InitStruct);

  /*Configure GPIO pins : BLE_SPI_CS_Pin SEL1_2_Pin */
  GPIO_InitStruct.Pin = BLE_SPI_CS_Pin|SEL1_2_Pin;
  GPIO_InitStruct.Mode = GPIO_MODE_OUTPUT_PP;
  GPIO_InitStruct.Pull = GPIO_NOPULL;
  GPIO_InitStruct.Speed = GPIO_SPEED_FREQ_LOW;
  HAL_GPIO_Init(GPIOG, &GPIO_InitStruct);

  /*Configure GPIO pins : INT_HTS_Pin BLE_INT_Pin */
  GPIO_InitStruct.Pin = INT_HTS_Pin|BLE_INT_Pin;
  GPIO_InitStruct.Mode = GPIO_MODE_IT_RISING;
  GPIO_InitStruct.Pull = GPIO_NOPULL;
  HAL_GPIO_Init(GPIOG, &GPIO_InitStruct);

  /*Configure GPIO pins : I2C4_SCL_Pin I2C4_SDA_Pin */
  GPIO_InitStruct.Pin = I2C4_SCL_Pin|I2C4_SDA_Pin;
  GPIO_InitStruct.Mode = GPIO_MODE_AF_OD;
  GPIO_InitStruct.Pull = GPIO_PULLUP;
  GPIO_InitStruct.Speed = GPIO_SPEED_FREQ_VERY_HIGH;
  GPIO_InitStruct.Alternate = GPIO_AF4_I2C4;
  HAL_GPIO_Init(GPIOD, &GPIO_InitStruct);

  /*Configure GPIO pins : SPI2_MISO_Pin SPI2_MOSI_Pin */
  GPIO_InitStruct.Pin = SPI2_MISO_Pin|SPI2_MOSI_Pin;
  GPIO_InitStruct.Mode = GPIO_MODE_AF_PP;
  GPIO_InitStruct.Pull = GPIO_NOPULL;
  GPIO_InitStruct.Speed = GPIO_SPEED_FREQ_VERY_HIGH;
  GPIO_InitStruct.Alternate = GPIO_AF5_SPI2;
  HAL_GPIO_Init(GPIOC, &GPIO_InitStruct);

  /*Configure GPIO pins : INT2_ADWB_Pin SD_DETECT_Pin */
  GPIO_InitStruct.Pin = INT2_ADWB_Pin|SD_DETECT_Pin;
  GPIO_InitStruct.Mode = GPIO_MODE_INPUT;
  GPIO_InitStruct.Pull = GPIO_NOPULL;
  HAL_GPIO_Init(GPIOB, &GPIO_InitStruct);

  /*Configure GPIO pin : CHRG_Pin */
  GPIO_InitStruct.Pin = CHRG_Pin;
  GPIO_InitStruct.Mode = GPIO_MODE_INPUT;
  GPIO_InitStruct.Pull = GPIO_NOPULL;
  HAL_GPIO_Init(CHRG_GPIO_Port, &GPIO_InitStruct);

  /*Configure GPIO pin : BUTTON_PWR_Pin */
  GPIO_InitStruct.Pin = BUTTON_PWR_Pin;
  GPIO_InitStruct.Mode = GPIO_MODE_IT_RISING;
  GPIO_InitStruct.Pull = GPIO_NOPULL;
  HAL_GPIO_Init(BUTTON_PWR_GPIO_Port, &GPIO_InitStruct);

  /*Configure GPIO pins : USART3_RX_Pin USART3_TX_Pin */
  GPIO_InitStruct.Pin = USART3_RX_Pin|USART3_TX_Pin;
  GPIO_InitStruct.Mode = GPIO_MODE_AF_PP;
  GPIO_InitStruct.Pull = GPIO_NOPULL;
  GPIO_InitStruct.Speed = GPIO_SPEED_FREQ_VERY_HIGH;
  GPIO_InitStruct.Alternate = GPIO_AF7_USART3;
  HAL_GPIO_Init(GPIOD, &GPIO_InitStruct);

  /*Configure GPIO pins : USART3_RTS_Pin USART3_CTS_Pin */
  GPIO_InitStruct.Pin = USART3_RTS_Pin|USART3_CTS_Pin;
  GPIO_InitStruct.Mode = GPIO_MODE_AF_PP;
  GPIO_InitStruct.Pull = GPIO_NOPULL;
  GPIO_InitStruct.Speed = GPIO_SPEED_FREQ_VERY_HIGH;
  GPIO_InitStruct.Alternate = GPIO_AF7_USART3;
  HAL_GPIO_Init(GPIOB, &GPIO_InitStruct);

  /*Configure GPIO pin : DFSDM1_CKOUT_Pin */
  GPIO_InitStruct.Pin = DFSDM1_CKOUT_Pin;
  GPIO_InitStruct.Mode = GPIO_MODE_AF_PP;
  GPIO_InitStruct.Pull = GPIO_PULLDOWN;
  GPIO_InitStruct.Speed = GPIO_SPEED_FREQ_VERY_HIGH;
  GPIO_InitStruct.Alternate = GPIO_AF6_DFSDM1;
  HAL_GPIO_Init(DFSDM1_CKOUT_GPIO_Port, &GPIO_InitStruct);

  /*Configure GPIO pins : SPI2_MOSI_p2_Pin PB11_Pin */
  GPIO_InitStruct.Pin = SPI2_MOSI_p2_Pin|PB11_Pin;
  GPIO_InitStruct.Mode = GPIO_MODE_OUTPUT_PP;
  GPIO_InitStruct.Pull = GPIO_NOPULL;
  GPIO_InitStruct.Speed = GPIO_SPEED_FREQ_LOW;
  HAL_GPIO_Init(GPIOB, &GPIO_InitStruct);

  /*Configure GPIO pin : INT2_DH_Pin */
  GPIO_InitStruct.Pin = INT2_DH_Pin;
  GPIO_InitStruct.Mode = GPIO_MODE_IT_RISING;
  GPIO_InitStruct.Pull = GPIO_NOPULL;
  HAL_GPIO_Init(INT2_DH_GPIO_Port, &GPIO_InitStruct);

  /*Configure GPIO pin : PE12_Pin */
  GPIO_InitStruct.Pin = PE12_Pin;
  GPIO_InitStruct.Mode = GPIO_MODE_ANALOG;
  GPIO_InitStruct.Pull = GPIO_NOPULL;
  HAL_GPIO_Init(PE12_GPIO_Port, &GPIO_InitStruct);

}

/* USER CODE BEGIN 4 */
void HAL_ADC_ConvHalfCpltCallback(ADC_HandleTypeDef* hadc)
{
	  void * data_ptr = osPoolAlloc(amicPool_id);
	  data_ptr = (void *)adc_buf;
	  osMessagePut(SimpleQueue, (uint32_t)(data_ptr), osWaitForever);

}

//Called when buffer is completely filled
void HAL_ADC_ConvCpltCallback(ADC_HandleTypeDef* hadc)
{

	void * data_ptr = osPoolAlloc(amicPool_id);
	data_ptr = (void *)adc_buf;
	osMessagePut(SimpleQueue, (uint32_t)(data_ptr), osWaitForever);

}

void Sender_HPT_Task (void *argument)
{
	uint32_t TickDelay = pdMS_TO_TICKS(1);
	osEvent evt;
	while (1)
	{
		if (estado == SM_SENSOR_STATE_INITIALIZING)
		{
			HAL_ADC_Start_DMA(&hadc1, (uint32_t*)adc_buf, ADC_BUF_LEN);
			estado = SM_SENSOR_STATE_RUNNING;
		}
		else if (estado == SM_SENSOR_STATE_RUNNING)
		{
			evt = osMessageGet(SimpleQueue, osWaitForever);

//			char *str2 = "1\n\n\n";
//			HAL_UART_Transmit(&huart2, (uint8_t *)str2, strlen (str2), HAL_MAX_DELAY);

			if(estado == SM_SENSOR_STATE_RUNNING) /* Change of state can happen while task blocked */
			{
				void * data_ptr = evt.value.p; /* void since it is independent from data format*/

//				char *str2 = "2\n\n\n";
//				HAL_UART_Transmit(&huart2, (uint8_t *)str2, strlen (str2), HAL_MAX_DELAY);

				MP23ABS1_Data_Ready((uint8_t *)data_ptr, 512);
				osPoolFree(amicPool_id, data_ptr);
			}
		}
		//vTaskDelay(TickDelay);
	}
}
//		if (Mitad1 == 1)
//		{
//			Mitad1 = 0;
//			if (xQueueSend(SimpleQueue, &adc_buf, portMAX_DELAY) == pdPASS)
//			{
//				char *str2 = " Successfully sent the Mitad1 to the queue\nLeaving SENDER_HPT Task\n\n\n";
//				HAL_UART_Transmit(&huart2, (uint8_t *)str2, strlen (str2), HAL_MAX_DELAY);
//			}
//		}
//		if (Mitad2 == 1)
//		{
//			//HAL_ADC_Stop_DMA(&hadc1);
//			Mitad2 = 0;
//			if (xQueueSend(SimpleQueue, &adc_buf[256], portMAX_DELAY) == pdPASS)
//			{
//				char *str2 = " Successfully sent the Mitad2 to the queue\nLeaving SENDER_HPT Task\n\n\n";
//				HAL_UART_Transmit(&huart2, (uint8_t *)str2, strlen (str2), HAL_MAX_DELAY);
//			}
//		}
//		vTaskDelay(TickDelay);
//	}
//}

void MP23ABS1_Data_Ready(uint8_t * buf, uint16_t size)
{
	if(AUDIO_FFT_Data_Input((int16_t *)buf, size/2, &audio_fft_M1))
	{
//		char *str2 = "3\n\n\n";
//		HAL_UART_Transmit(&huart2, (uint8_t *)str2, strlen (str2), HAL_MAX_DELAY);
		HAL_GPIO_TogglePin(LED2_GPIO_Port, LED2_Pin);
		osSemaphoreRelease(fft_data_input_sem_id);
		Mitad1 = 1;
	}
}

void Cambio_Escala_FFT(float *FFT, uint16_t size, double *salida)
{
	for(int i=0; i<size; i++)
	{
		salida[i] = 20 * log(FFT_Out[i]/256);
	}
}

void Receiver_Task (void *argument)
{
	audio_fft_M1.sampling_frequency = AUDIO_IN_SAMPLING_FREQUENCY;
	audio_fft_M1.FFT_len = 512;
	audio_fft_M1.overlap = 0.5f;
	audio_fft_M1.win_type = AUDIO_FTT_HANNING_WIN;
	audio_fft_M1.output = MAGNITUDE;
	AUDIO_FFT_Init(&audio_fft_M1);

	/* Allocate output buffer */
	FFT_Out = calloc(audio_fft_M1.FFT_len/2 , sizeof(float));

//	uint16_t received[ADC_BUF_LEN/2];
	uint32_t TickDelay = pdMS_TO_TICKS(1);

	while (1)
	{
		osSemaphoreWait(fft_data_input_sem_id,  osWaitForever);
//		if(Mitad1 == 1)
//		{
//			Mitad1 = 0;
//			osSemaphoreWait(fft_data_input_sem_id,  osWaitForever);
//			char *str2 = "4\n\n\n";
//			HAL_UART_Transmit(&huart2, (uint8_t *)str2, strlen (str2), HAL_MAX_DELAY);

			AUDIO_FFT_Process(&audio_fft_M1, FFT_Out);
			Cambio_Escala_FFT(&FFT_Out, audio_fft_M1.FFT_len/2, &FFT_log);
			HAL_GPIO_TogglePin(LED1_GPIO_Port, LED1_Pin);
			//HAL_GPIO_WritePin(LED2_GPIO_Port, LED2_Pin, GPIO_PIN_RESET);
//		}
//		osSemaphoreRelease(fft_data_input_sem_id);

//		vTaskDelay(TickDelay);

//		if (xQueueReceive(SimpleQueue, &received, portMAX_DELAY) == pdTRUE)
//		{
//			HAL_ADC_Stop_DMA(&hadc1);
//			taskENTER_CRITICAL();
//			char str[100];
//			strcpy (str, "Entered RECEIVER Task about to FFT\n\n");
//			HAL_UART_Transmit(&huart2, (uint8_t *)str, strlen (str), HAL_MAX_DELAY);
//
//			AUDIO_FFT_Data_Input(received, ADC_BUF_LEN/2, &audio_fft_M1);
//			AUDIO_FFT_Process(&audio_fft_M1, FFT_Out);
//
//			taskEXIT_CRITICAL();
//			strcpy (str, "Exit RECEIVER Task \n\n");
//			HAL_UART_Transmit(&huart2, (uint8_t *)str, strlen (str), HAL_MAX_DELAY);
//
//			vTaskDelay(TickDelay);
//		}

	}
}

/* USER CODE END 4 */

 /**
  * @brief  Period elapsed callback in non blocking mode
  * @note   This function is called  when TIM6 interrupt took place, inside
  * HAL_TIM_IRQHandler(). It makes a direct call to HAL_IncTick() to increment
  * a global variable "uwTick" used as application time base.
  * @param  htim : TIM handle
  * @retval None
  */
void HAL_TIM_PeriodElapsedCallback(TIM_HandleTypeDef *htim)
{
  if (htim->Instance == TIM6) {
    HAL_IncTick();
  }
}

void Error_Handler(void)
{
  __disable_irq();
  while (1)
  {
  }
}

/************************ (C) COPYRIGHT STMicroelectronics *****END OF FILE****/
